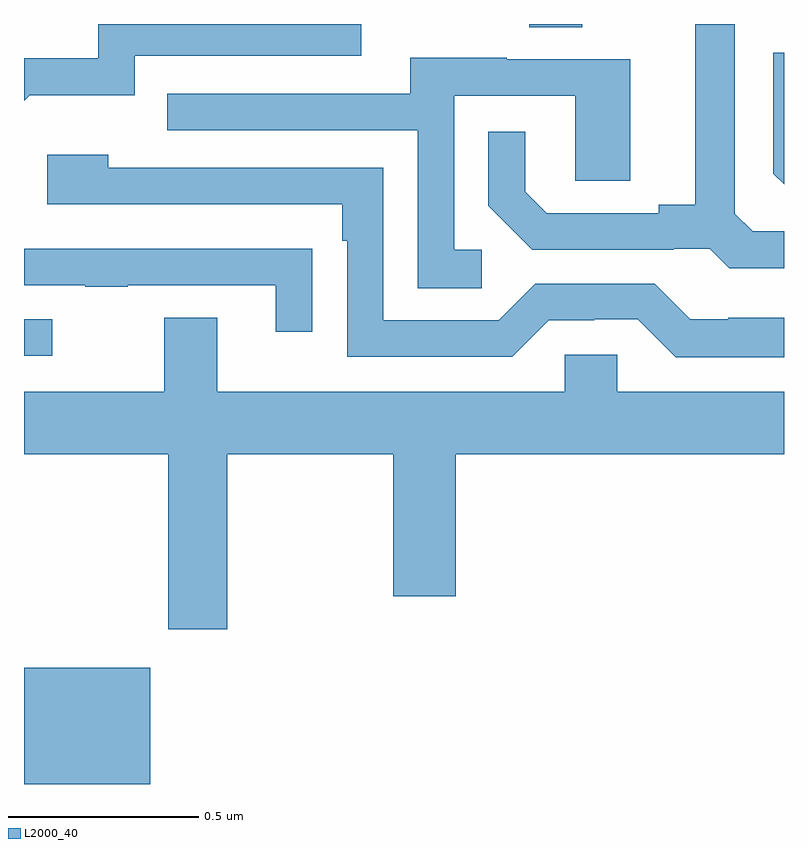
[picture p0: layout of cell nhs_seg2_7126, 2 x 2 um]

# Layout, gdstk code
import gdstk
lib = gdstk.Library(unit=1e-6, precision=1e-09)
def R(c, l, rs):  # rectangles x0, y0, x1, y1
    for r in rs: c.add(gdstk.rectangle(r[:2], r[2:], *l))
def P(c, l, *ps):  # polygons
    for p in ps: c.add(gdstk.Polygon(p, *l))
L2000_40 = (2000, 40)

nhs_seg2_7126 = lib.new_cell('nhs_seg2_7126')
R(nhs_seg2_7126, L2000_40, [(200,614.8,200.332,615.106), (200,615.927,200.074,616.023), (201.329,616.792,201.469,616.8)])
P(nhs_seg2_7126, L2000_40, [(200.015,616.613),(200.292,616.613),(200.292,616.716),(200.887,616.716),(200.887,616.8),(200.196,616.8),(200.196,616.71),(200,616.71),(200,616.598)],
  [(202,616.254),(201.918,616.254),(201.871,616.301),(201.871,616.8),(201.767,616.8),(201.767,616.325),(201.671,616.325),(201.671,616.302),(201.376,616.302),(201.319,616.359),(201.319,616.516),(201.222,616.516),(201.222,616.322),(201.338,616.206),(201.71,616.206),(201.71,616.209),(201.804,616.209),(201.856,616.157),(202,616.157)],
  [(202,616.724),(201.972,616.724),(201.972,616.406),(202,616.378)],
  [(201.205,616.206),(201.132,616.206),(201.132,616.611),(201.45,616.611),(201.45,616.387),(201.595,616.387),(201.595,616.707),(201.271,616.707),(201.271,616.711),(201.017,616.711),(201.017,616.617),(200.377,616.617),(200.377,616.521),(201.036,616.521),(201.036,616.105),(201.205,616.105)],
  [(202,616.027),(201.853,616.027),(201.853,616.023),(201.753,616.023),(201.66,616.116),(201.345,616.116),(201.249,616.02),(200.946,616.02),(200.946,616.422),(200.222,616.422),(200.222,616.456),(200.061,616.456),(200.061,616.326),(200.837,616.326),(200.837,616.229),(200.85,616.229),(200.85,615.924),(201.285,615.924),(201.381,616.02),(201.5,616.02),(201.5,616.023),(201.615,616.023),(201.715,615.923),(202,615.923)],
  [(200.759,616.208),(200.657,616.208),(200.657,616.209),(200,616.209),(200,616.113),(200.161,616.113),(200.161,616.108),(200.273,616.108),(200.273,616.113),(200.663,616.113),(200.663,615.99),(200.759,615.99)],
  [(200.535,615.668),(200.972,615.668),(200.972,615.294),(201.136,615.294),(201.136,615.668),(202,615.668),(202,615.832),(201.561,615.832),(201.561,615.93),(201.423,615.93),(201.423,615.832),(200.509,615.832),(200.509,616.027),(200.369,616.027),(200.369,615.832),(200,615.832),(200,615.668),(200.38,615.668),(200.38,615.207),(200.535,615.207)])

lib.write_gds('nhs_seg2_7126.gds')
